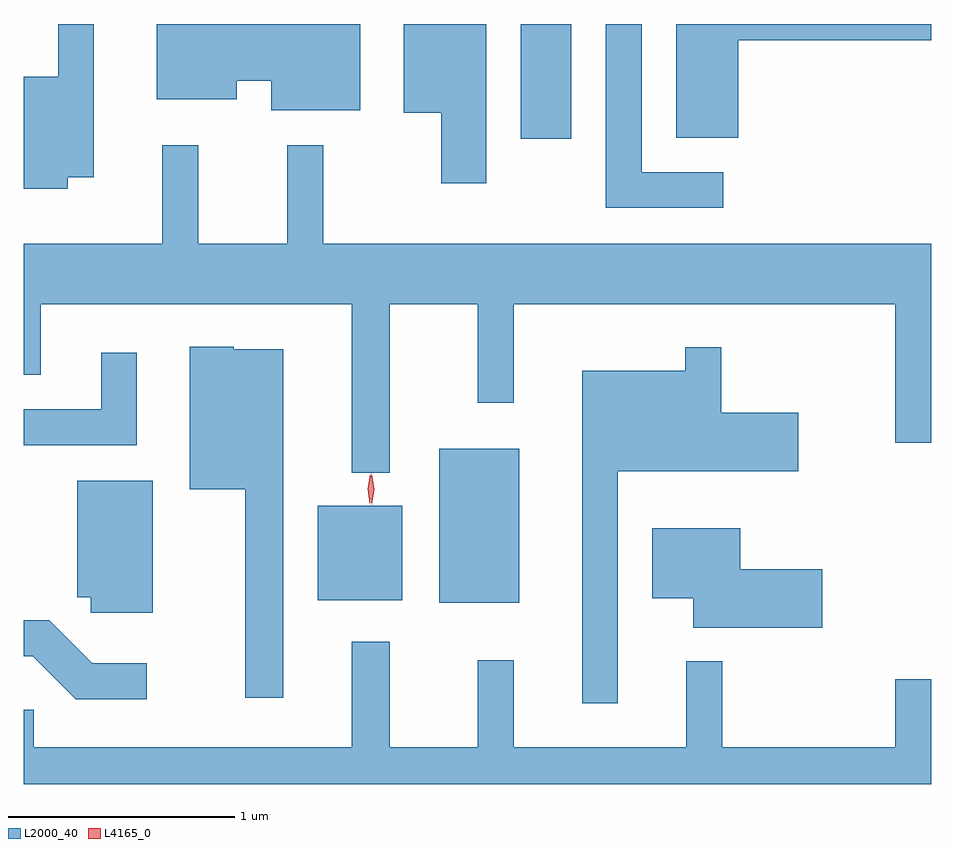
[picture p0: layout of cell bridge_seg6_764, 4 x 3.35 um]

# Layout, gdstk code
import gdstk
lib = gdstk.Library(unit=1e-6, precision=1e-09)
def R(c, l, rs):  # rectangles x0, y0, x1, y1
    for r in rs: c.add(gdstk.rectangle(r[:2], r[2:], *l))
def P(c, l, *ps):  # polygons
    for p in ps: c.add(gdstk.Polygon(p, *l))
L2000_40 = (2000, 40)
L4165_0 = (4165, 0)

bridge_seg6_764 = lib.new_cell('bridge_seg6_764')
R(bridge_seg6_764, L2000_40, [(492.786,1530.961,493.139,1531.639), (492.251,1530.971,492.624,1531.389), (493.146,1533.006,493.369,1533.512)])
P(bridge_seg6_764, L2000_40, [(492.994,1533.512),(492.631,1533.512),(492.631,1533.121),(492.796,1533.121),(492.796,1532.811),(492.994,1532.811)],
  [(494.104,1533.441),(494.955,1533.441),(494.955,1533.512),(493.831,1533.512),(493.831,1533.011),(494.104,1533.011)],
  [(494.038,1532.859),(493.679,1532.859),(493.679,1533.512),(493.521,1533.512),(493.521,1532.701),(494.038,1532.701)],
  [(492.439,1533.512),(491.541,1533.512),(491.541,1533.181),(491.894,1533.181),(491.894,1533.261),(492.046,1533.261),(492.046,1533.131),(492.439,1533.131)],
  [(491.149,1532.836),(491.264,1532.836),(491.264,1533.512),(491.106,1533.512),(491.106,1533.279),(490.955,1533.279),(490.955,1532.786),(491.149,1532.786)],
  [(492.569,1532.276),(492.956,1532.276),(492.956,1531.843),(493.114,1531.843),(493.114,1532.276),(494.796,1532.276),(494.796,1531.666),(494.955,1531.666),(494.955,1532.544),(492.274,1532.544),(492.274,1532.978),(492.116,1532.978),(492.116,1532.544),(491.724,1532.544),(491.724,1532.978),(491.566,1532.978),(491.566,1532.544),(490.955,1532.544),(490.955,1531.966),(491.029,1531.966),(491.029,1532.276),(492.401,1532.276),(492.401,1531.533),(492.569,1531.533)],
  [(492.099,1532.079),(491.88,1532.079),(491.88,1532.089),(491.686,1532.089),(491.686,1531.461),(491.931,1531.461),(491.931,1530.543),(492.099,1530.543)],
  [(493.574,1531.541),(494.369,1531.541),(494.369,1531.799),(494.029,1531.799),(494.029,1532.088),(493.871,1532.088),(493.871,1531.984),(493.416,1531.984),(493.416,1530.518),(493.574,1530.518)],
  [(491.454,1532.063),(491.296,1532.063),(491.296,1531.814),(490.955,1531.814),(490.955,1531.656),(491.454,1531.656)],
  [(491.524,1531.499),(491.191,1531.499),(491.191,1530.986),(491.251,1530.986),(491.251,1530.916),(491.524,1530.916)],
  [(494.474,1531.109),(494.114,1531.109),(494.114,1531.289),(493.726,1531.289),(493.726,1530.981),(493.906,1530.981),(493.906,1530.851),(494.474,1530.851)],
  [(491.498,1530.694),(491.257,1530.694),(491.067,1530.884),(490.955,1530.884),(490.955,1530.726),(490.994,1530.726),(491.184,1530.536),(491.498,1530.536)],
  [(494.955,1530.624),(494.796,1530.624),(494.796,1530.324),(494.034,1530.324),(494.034,1530.703),(493.876,1530.703),(493.876,1530.324),(493.114,1530.324),(493.114,1530.708),(492.956,1530.708),(492.956,1530.324),(492.569,1530.324),(492.569,1530.788),(492.401,1530.788),(492.401,1530.324),(490.999,1530.324),(490.999,1530.489),(490.955,1530.489),(490.955,1530.162),(494.955,1530.162)])
P(bridge_seg6_764, L4165_0, [(492.488,1531.394),(492.479,1531.462),(492.488,1531.53),(492.489,1531.53),(492.489,1531.53),(492.499,1531.462),(492.489,1531.394),(492.489,1531.394)],
  [(492.48,1531.398),(492.48,1531.398),(492.471,1531.463),(492.482,1531.527),(492.482,1531.527),(492.483,1531.527),(492.492,1531.462),(492.481,1531.398)])

lib.write_gds('bridge_seg6_764.gds')
